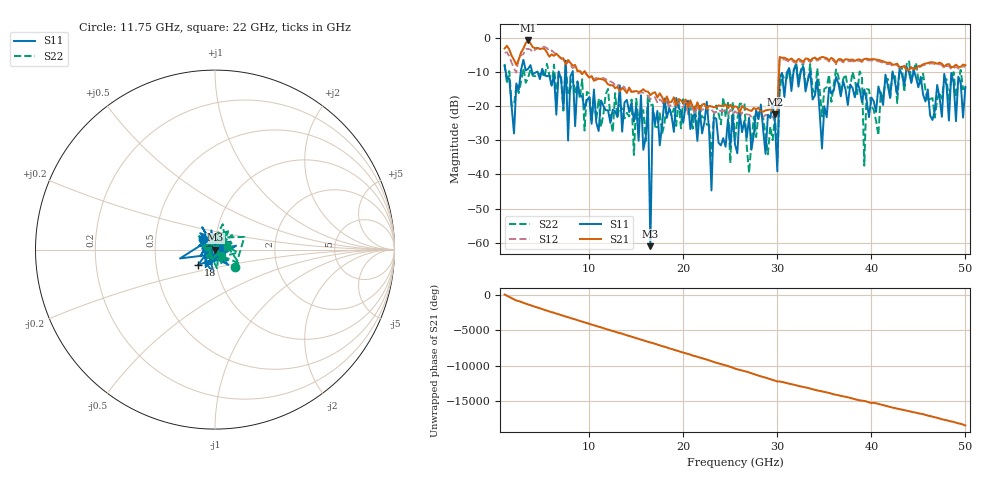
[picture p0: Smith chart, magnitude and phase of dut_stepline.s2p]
# GHz S RI R 50.0
!freq ReS11 ImS11 ReS21 ImS21 ReS12 ImS12 ReS22 ImS22
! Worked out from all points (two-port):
!   197 points, 1 GHz to 50 GHz, reference 50 ohm
!   highest |S21| = -0.81 dB at 3.5 GHz (marker M1); lowest = -22.4 dB at 29.75 GHz (marker M2)
!   |S21| within 3 dB of the highest: start of sweep to 1.546 GHz; 2.864 GHz to 5.382 GHz (2.518 GHz wide, 61.1 % of centre)
!   lowest |S11| = -61.0 dB at 16.5 GHz (marker M3), VSWR 1.00, Z = 50.1 - j0.0226 ohm
!   |S11| at or under -10 dB: 8.254 GHz to 31.05 GHz (22.8 GHz wide, 116 % of centre); 33.51 GHz to 42.25 GHz (8.74 GHz wide, 23.1 % of centre); 44.56 GHz to end of sweep (the widest 3 of 15)
!   |S22| runs from -39.6 to -6.7 dB; largest |S21 - S12| = 1.4
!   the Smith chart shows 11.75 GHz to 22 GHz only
!   S11 on the Smith chart (normalised r, x): 11.75 GHz: 0.87, +0.10; 18 GHz: 0.81, -0.14; 22 GHz: 1.08, +0.02
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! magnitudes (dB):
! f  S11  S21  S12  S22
! 1 GHz  -8.3  -3.1  -4.5  -7.7
! 2 GHz  -28.0  -6.5  -9.0  -19.7
! 3.5 GHz  -9.1  -0.8  -3.3  -11.7
! 9.25 GHz  -17.2  -10.7  -10.5  -12.2
! 11.75 GHz  -21.2  -12.7  -12.1  -16.5
! 14.75 GHz  -24.5  -15.7  -15.7  -34.3
! 16.25 GHz  -19.3  -15.8  -17.1  -16.6
! 16.5 GHz  -61.0  -16.8  -18.0  -19.8
! 16.75 GHz  -20.7  -16.2  -17.4  -19.6
! 17.5 GHz  -31.5  -16.3  -18.1  -22.1
! 18 GHz  -17.8  -19.0  -20.3  -25.3
! 22 GHz  -28.0  -19.6  -21.1  -23.3
! 25.5 GHz  -31.2  -20.1  -21.5  -30.3
! 29.75 GHz  -24.9  -22.4  -24.3  -23.1
! 30 GHz  -39.1  -21.6  -23.1  -36.1
! 30.25 GHz  -11.7  -5.6  -6.1  -15.9
! 33.75 GHz  -18.1  -6.1  -6.5  -14.9
! 38.75 GHz  -14.9  -6.4  -6.7  -9.9
! 39.25 GHz  -15.1  -6.2  -6.6  -37.4
! 39.5 GHz  -18.4  -6.1  -6.5  -15.0
! 42 GHz  -17.6  -7.3  -7.6  -17.4
! 50 GHz  -14.4  -8.1  -8.6  -14.8
